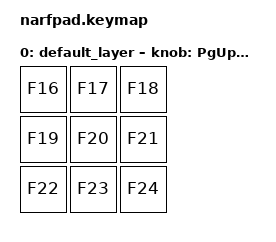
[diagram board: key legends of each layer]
#include <behaviors.dtsi>
#include <dt-bindings/zmk/keys.h>

/ {
    keymap {
        compatible = "zmk,keymap";
        default_layer {
            bindings = <
                &kp F16     &kp F17     &kp F18
                &kp F19     &kp F20     &kp F21
                &kp F22     &kp F23     &kp F24
            >;
            sensor-bindings = <&inc_dec_kp PG_UP PG_DN>;
        };
    };
};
